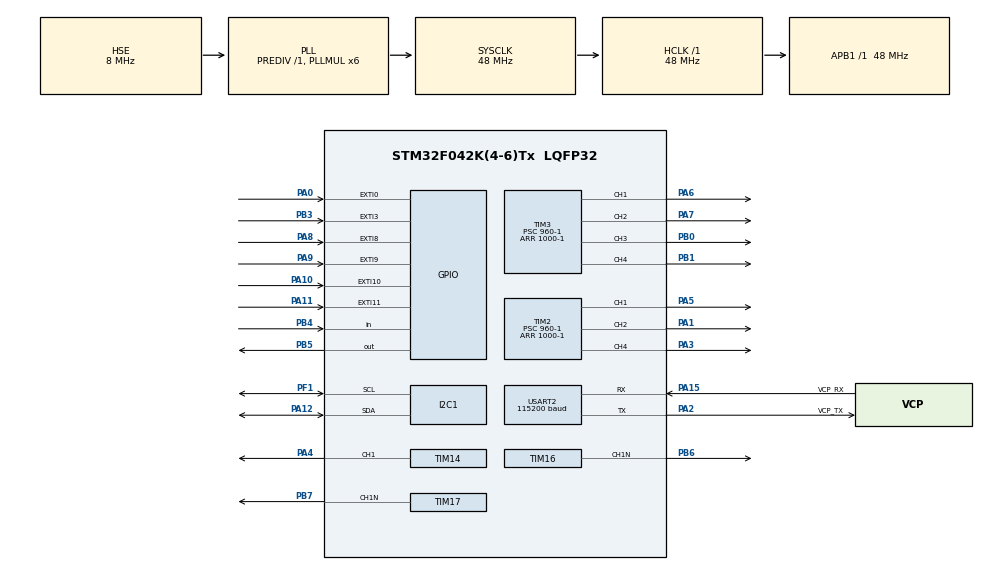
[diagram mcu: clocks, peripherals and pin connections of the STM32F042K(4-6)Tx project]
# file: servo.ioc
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Dma.Request0=USART2_RX
Dma.USART2_RX.0.Direction=DMA_PERIPH_TO_MEMORY
Dma.USART2_RX.0.Instance=DMA1_Channel5
Dma.USART2_RX.0.MemDataAlignment=DMA_MDATAALIGN_BYTE
Dma.USART2_RX.0.MemInc=DMA_MINC_ENABLE
Dma.USART2_RX.0.Mode=DMA_NORMAL
Dma.USART2_RX.0.PeriphDataAlignment=DMA_PDATAALIGN_BYTE
Dma.USART2_RX.0.PeriphInc=DMA_PINC_DISABLE
Dma.USART2_RX.0.Priority=DMA_PRIORITY_LOW
Mcu.Family=STM32F0
Mcu.Name=STM32F042K(4-6)Tx
Mcu.Package=LQFP32
NVIC.DMA1_Channel4_5_IRQn=true\:0\:0\:false\:false\:true\:false\:true
NVIC.EXTI0_1_IRQn=true\:0\:0\:false\:false\:true\:true\:true
NVIC.EXTI2_3_IRQn=true\:0\:0\:false\:false\:true\:true\:true
NVIC.EXTI4_15_IRQn=true\:0\:0\:false\:false\:true\:true\:true
NVIC.USART2_IRQn=true\:0\:0\:false\:false\:true\:true\:true
PA0.Signal=GPXTI0
PA1.Signal=S_TIM2_CH2
PA10.Signal=GPXTI10
PA11.Signal=GPXTI11
PA12.Mode=I2C
PA12.Signal=I2C1_SDA
PA13.GPIO_Label=SWDIO
PA13.Mode=Serial_Wire
PA13.Signal=SYS_SWDIO
PA14.GPIO_Label=SWCLK
PA14.Mode=Serial_Wire
PA14.Signal=SYS_SWCLK
PA15.GPIO_Label=VCP_RX
PA15.Mode=Asynchronous
PA15.Signal=USART2_RX
PA2.GPIO_Label=VCP_TX
PA2.Mode=Asynchronous
PA2.Signal=USART2_TX
PA3.Signal=S_TIM2_CH4
PA4.Signal=S_TIM14_CH1
PA5.Signal=S_TIM2_CH1_ETR
PA6.Signal=S_TIM3_CH1
PA7.Signal=S_TIM3_CH2
PA8.Signal=GPXTI8
PA9.Signal=GPXTI9
PB0.Signal=S_TIM3_CH3
PB1.Signal=S_TIM3_CH4
PB3.GPIO_ModeDefaultEXTI=GPIO_MODE_IT_FALLING
PB3.Signal=GPXTI3
PB4.Signal=GPIO_Input
PB5.Signal=GPIO_Output
PB6.Mode=PWM Generation1 CH1N
PB6.Signal=TIM16_CH1N
PB7.Mode=PWM Generation1 CH1N
PB7.Signal=TIM17_CH1N
PF0-OSC_IN.GPIO_Label=MCO
PF0-OSC_IN.Mode=HSE-External-Clock-Source
PF0-OSC_IN.Signal=RCC_OSC_IN
PF1-OSC_OUT.Mode=I2C
PF1-OSC_OUT.Signal=I2C1_SCL
ProjectManager.HeapSize=0x200
ProjectManager.StackSize=0x400
ProjectManager.TargetToolchain=MDK-ARM V5.32
RCC.AHBFreq_Value=48000000
RCC.APB1Freq_Value=48000000
RCC.APB1TimFreq_Value=48000000
RCC.HCLKFreq_Value=48000000
RCC.PLLMUL=RCC_PLL_MUL6
RCC.PLLSourceVirtual=RCC_PLLSOURCE_HSE
RCC.SYSCLKFreq_VALUE=48000000
RCC.SYSCLKSource=RCC_SYSCLKSOURCE_PLLCLK
SH.S_TIM14_CH1.0=TIM14_CH1,PWM Generation1 CH1
SH.S_TIM2_CH1_ETR.0=TIM2_CH1,PWM Generation1 CH1
SH.S_TIM2_CH2.0=TIM2_CH2,PWM Generation2 CH2
SH.S_TIM2_CH4.0=TIM2_CH4,PWM Generation4 CH4
SH.S_TIM3_CH1.0=TIM3_CH1,PWM Generation1 CH1
SH.S_TIM3_CH2.0=TIM3_CH2,PWM Generation2 CH2
SH.S_TIM3_CH3.0=TIM3_CH3,PWM Generation3 CH3
SH.S_TIM3_CH4.0=TIM3_CH4,PWM Generation4 CH4
TIM14.Channel=TIM_CHANNEL_1
TIM14.Period=1000-1
TIM14.Prescaler=960-1
TIM16.Channel=TIM_CHANNEL_1
TIM16.Period=1000-1
TIM16.Prescaler=960-1
TIM17.Channel=TIM_CHANNEL_1
TIM17.Period=1000-1
TIM17.Prescaler=960-1
TIM2.Channel-PWM\ Generation1\ CH1=TIM_CHANNEL_1
TIM2.Channel-PWM\ Generation2\ CH2=TIM_CHANNEL_2
TIM2.Channel-PWM\ Generation4\ CH4=TIM_CHANNEL_4
TIM2.Period=1000-1
TIM2.Prescaler=960-1
TIM3.Channel-PWM\ Generation1\ CH1=TIM_CHANNEL_1
TIM3.Channel-PWM\ Generation2\ CH2=TIM_CHANNEL_2
TIM3.Channel-PWM\ Generation3\ CH3=TIM_CHANNEL_3
TIM3.Channel-PWM\ Generation4\ CH4=TIM_CHANNEL_4
TIM3.Period=1000-1
TIM3.Prescaler=960-1
USART2.BaudRate=115200
USART2.VirtualMode-Asynchronous=VM_ASYNC
VP_TIM14_VS_ClockSourceINT.Mode=Enable_Timer
VP_TIM16_VS_ClockSourceINT.Mode=Enable_Timer
VP_TIM17_VS_ClockSourceINT.Mode=Enable_Timer
board=NUCLEO-F042K6

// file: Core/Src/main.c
/* USER CODE BEGIN Header */
/**
  ******************************************************************************
  * @file           : main.c
  * @brief          : Main program body
  ******************************************************************************
  * @attention
  *
  * Copyright (c) 2022 STMicroelectronics.
  * All rights reserved.
  *
  * This software is licensed under terms that can be found in the LICENSE file
  * in the root directory of this software component.
  * If no LICENSE file comes with this software, it is provided AS-IS.
  *
  ******************************************************************************
  */
/* USER CODE END Header */
#include "main.h"
#include "dma.h"
#include "i2c.h"
#include "tim.h"
#include "usart.h"
#include "gpio.h"

/* USER CODE BEGIN Includes */
#include <stdio.h> //printf function
#include <string.h>
#include <stdbool.h>
#include "servo.h"
/* USER CODE END Includes */

/* USER CODE BEGIN PV */

uint32_t last_time = 0;
uint32_t sub_last_time = 0;
bool rotate_dir;
uint8_t selected_servo;
uint8_t selected_servo_prev=255;
ServoTypeDef servo[6];

/* USER CODE END PV */

void SystemClock_Config(void);

int main(void)
{

  /* MCU Configuration--------------------------------------------------------*/

  /* Reset of all peripherals, Initializes the Flash interface and the Systick. */
  HAL_Init();

  /* Configure the system clock */
  SystemClock_Config();

  /* Initialize all configured peripherals */
  MX_GPIO_Init();
  MX_DMA_Init();
  MX_TIM2_Init();
  MX_TIM3_Init();
  MX_TIM14_Init();
  MX_TIM16_Init();
  MX_TIM17_Init();
  MX_USART2_UART_Init();
  MX_I2C1_Init();
  /* USER CODE BEGIN 2 */

	HAL_UARTEx_ReceiveToIdle_DMA(&huart2, RxBuf, RxBuf_SIZE);
	__HAL_DMA_DISABLE_IT(&hdma_usart2_rx, DMA_IT_HT);

	/* Servo Motors Configuration--------------------------------------------------------*/

	servo[0] = servo_init(.timer=&htim2 , .channel=TIM_CHANNEL_2);
	servo[1] = servo_init(.timer=&htim2 , .channel=TIM_CHANNEL_4);
	servo[2] = servo_init(.timer=&htim14, .channel=TIM_CHANNEL_1);
	servo[3] = servo_init(.timer=&htim2 , .channel=TIM_CHANNEL_1);
	servo[4] = servo_init(.timer=&htim3 , .channel=TIM_CHANNEL_1);
	servo[5] = servo_init(.timer=&htim3 , .channel=TIM_CHANNEL_2);

  /* USER CODE END 2 */

  /* Infinite loop */
  /* USER CODE BEGIN WHILE */
	printf("Servo test\r\n");

//	char *p = substr("01234567", 2, 6);
//
//	printf("%s\r\n",p);
//	if(p){
//		free(p);
//	}

  while (1)
  {
    /* USER CODE END WHILE */

    /* USER CODE BEGIN 3 */

		servo_pwm_set(&servo[selected_servo],servo[selected_servo].pwm_value);

  }

  /* USER CODE END 3 */
}

void SystemClock_Config(void)
{
  RCC_OscInitTypeDef RCC_OscInitStruct = {0};
  RCC_ClkInitTypeDef RCC_ClkInitStruct = {0};
  RCC_PeriphCLKInitTypeDef PeriphClkInit = {0};

  /** Initializes the RCC Oscillators according to the specified parameters
  * in the RCC_OscInitTypeDef structure.
  */
  RCC_OscInitStruct.OscillatorType = RCC_OSCILLATORTYPE_HSI|RCC_OSCILLATORTYPE_HSE;
  RCC_OscInitStruct.HSEState = RCC_HSE_BYPASS;
  RCC_OscInitStruct.HSIState = RCC_HSI_ON;
  RCC_OscInitStruct.HSICalibrationValue = RCC_HSICALIBRATION_DEFAULT;
  RCC_OscInitStruct.PLL.PLLState = RCC_PLL_ON;
  RCC_OscInitStruct.PLL.PLLSource = RCC_PLLSOURCE_HSE;
  RCC_OscInitStruct.PLL.PLLMUL = RCC_PLL_MUL6;
  RCC_OscInitStruct.PLL.PREDIV = RCC_PREDIV_DIV1;
  if (HAL_RCC_OscConfig(&RCC_OscInitStruct) != HAL_OK)
  {
    Error_Handler();
  }
  /** Initializes the CPU, AHB and APB buses clocks
  */
  RCC_ClkInitStruct.ClockType = RCC_CLOCKTYPE_HCLK|RCC_CLOCKTYPE_SYSCLK
                              |RCC_CLOCKTYPE_PCLK1;
  RCC_ClkInitStruct.SYSCLKSource = RCC_SYSCLKSOURCE_PLLCLK;
  RCC_ClkInitStruct.AHBCLKDivider = RCC_SYSCLK_DIV1;
  RCC_ClkInitStruct.APB1CLKDivider = RCC_HCLK_DIV1;

  if (HAL_RCC_ClockConfig(&RCC_ClkInitStruct, FLASH_LATENCY_1) != HAL_OK)
  {
    Error_Handler();
  }
  PeriphClkInit.PeriphClockSelection = RCC_PERIPHCLK_I2C1;
  PeriphClkInit.I2c1ClockSelection = RCC_I2C1CLKSOURCE_HSI;
  if (HAL_RCCEx_PeriphCLKConfig(&PeriphClkInit) != HAL_OK)
  {
    Error_Handler();
  }
}

void Error_Handler(void)
{
  __disable_irq();
  while (1)
  {
  }
}
